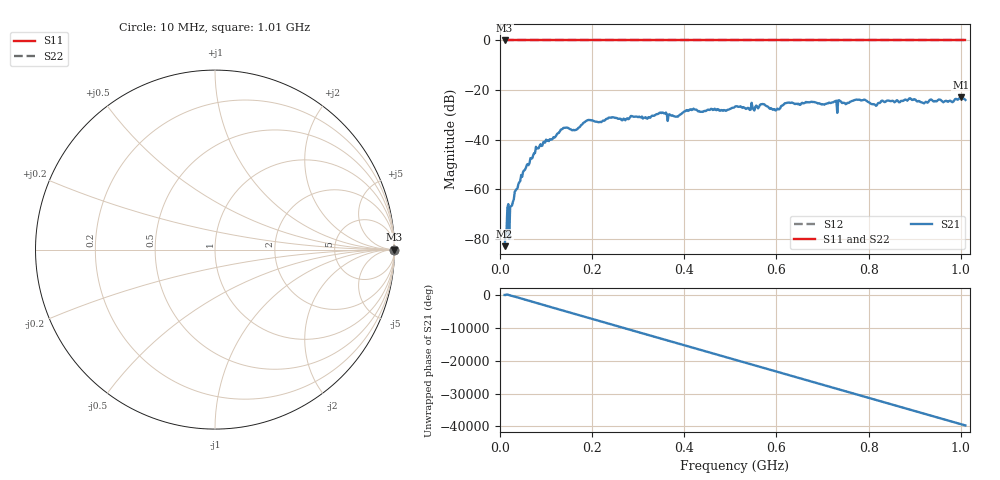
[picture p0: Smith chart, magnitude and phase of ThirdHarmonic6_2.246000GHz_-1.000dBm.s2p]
! 8/17/2025 2:40:04 AM
! C:\ANRITSUVNA\TEMP\TEMP.S2P
! CHANNEL.1
! TR.MEASUREMENT
! RAW.DATA
! RF.CORRECTION.OFF
! AVERAGING.OFF
! IF.BANDWIDTH: 5KHZ
! SWEEPTYPE:  FREQ.SWEEP(Linear)
! Reference Plane Port Info
! PORT:  PORT1  PORT2
! DISTANCE:  0  m  0  m
! TIME:  0  s  0  s
! PHASE.OFFSET:  0  deg.  0  deg.
! LOSS:  0  dB  0  dB
! REF.LOSS:  0  dB  0  dB
! REF.FREQ:  0  Hz  0  Hz
! Power Info
! POWER:  -20  dBm  -20  dBm
! EFF.POWER:  -20  dBm  -20  dBm
! SOURCE.ATTEN:  0  dB  0  dB
! TEST.ATTEN:  0  dB  0  dB
# GHZ S RI R 50.0
! FREQ.GHZ  S11RE  S11IM  S21RE  S21IM  S12RE  S12IM  S22RE  S22IM
!; PortSelection: Port_12
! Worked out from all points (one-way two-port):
!   501 points, 10 MHz to 1.01 GHz, reference 50 ohm
!   highest |S21| = -22.92 dB at 1 GHz (marker M1); lowest = -83.0 dB at 10 MHz (marker M2)
!   lowest |S11| = 0.0 dB at 10 MHz (marker M3)
!   |S11| at or under -10 dB: nowhere
!   |S22| runs from 0.0 to 0.0 dB; largest |S21 - S12| = 1.1
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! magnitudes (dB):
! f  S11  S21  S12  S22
! 10 MHz  0.0  -83.0  0.0  0.0
! 14 MHz  0.0  -78.0  0.0  0.0
! 24 MHz  0.0  -66.9  0.0  0.0
! 26 MHz  0.0  -66.6  0.0  0.0
! 36 MHz  0.0  -60.0  0.0  0.0
! 78 MHz  0.0  -42.9  0.0  0.0
! 136 MHz  0.0  -35.7  0.0  0.0
! 162 MHz  0.0  -36.3  0.0  0.0
! 178 MHz  0.0  -34.0  0.0  0.0
! 344 MHz  0.0  -29.5  0.0  0.0
! 382 MHz  0.0  -30.7  0.0  0.0
! 416 MHz  0.0  -28.1  0.0  0.0
! 510 MHz  0.0  -26.7  0.0  0.0
! 570 MHz  0.0  -25.7  0.0  0.0
! 596 MHz  0.0  -27.7  0.0  0.0
! 622 MHz  0.0  -25.2  0.0  0.0
! 678 MHz  0.0  -24.8  0.0  0.0
! 776 MHz  0.0  -23.9  0.0  0.0
! 814 MHz  0.0  -26.0  0.0  0.0
! 844 MHz  0.0  -24.3  0.0  0.0
! 1 GHz  0.0  -22.9  0.0  0.0
! 1.01 GHz  0.0  -24.0  0.0  0.0
